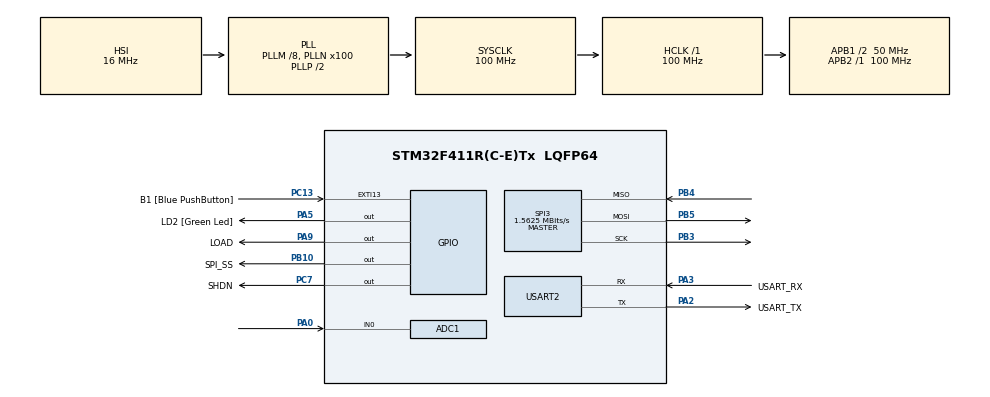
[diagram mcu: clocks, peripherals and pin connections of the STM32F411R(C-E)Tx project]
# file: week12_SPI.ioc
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ADC1.Channel-0\#ChannelRegularConversion=ADC_CHANNEL_0
ADC1.ContinuousConvMode=DISABLE
ADC1.DMAContinuousRequests=ENABLE
ADC1.EOCSelection=ADC_EOC_SEQ_CONV
ADC1.ExternalTrigConv=ADC_EXTERNALTRIGCONV_T3_TRGO
ADC1.NbrOfConversionFlag=1
ADC1.Rank-0\#ChannelRegularConversion=1
ADC1.SamplingTime-0\#ChannelRegularConversion=ADC_SAMPLETIME_3CYCLES
ADC1.ScanConvMode=ENABLE
ADC1.master=1
Dma.ADC1.0.Direction=DMA_PERIPH_TO_MEMORY
Dma.ADC1.0.FIFOMode=DMA_FIFOMODE_DISABLE
Dma.ADC1.0.Instance=DMA2_Stream0
Dma.ADC1.0.MemDataAlignment=DMA_MDATAALIGN_HALFWORD
Dma.ADC1.0.MemInc=DMA_MINC_ENABLE
Dma.ADC1.0.Mode=DMA_CIRCULAR
Dma.ADC1.0.PeriphDataAlignment=DMA_PDATAALIGN_HALFWORD
Dma.ADC1.0.PeriphInc=DMA_PINC_DISABLE
Dma.ADC1.0.Priority=DMA_PRIORITY_HIGH
Dma.Request0=ADC1
Mcu.Family=STM32F4
Mcu.Name=STM32F411R(C-E)Tx
Mcu.Package=LQFP64
NVIC.ADC_IRQn=true\:0\:0\:false\:false\:true\:true\:true\:true
NVIC.DMA2_Stream0_IRQn=true\:0\:0\:false\:false\:true\:false\:true\:true
NVIC.EXTI15_10_IRQn=true\:0\:0\:false\:false\:true\:true\:true\:true
NVIC.PriorityGroup=NVIC_PRIORITYGROUP_0
NVIC.SPI3_IRQn=true\:0\:0\:false\:false\:true\:true\:true\:true
NVIC.TIM1_TRG_COM_TIM11_IRQn=true\:0\:0\:false\:false\:true\:true\:true\:true
NVIC.TIM3_IRQn=true\:0\:0\:false\:false\:true\:true\:true\:true
PA0-WKUP.Signal=ADCx_IN0
PA13.GPIO_Label=TMS
PA13.Mode=Serial_Wire
PA13.Signal=SYS_JTMS-SWDIO
PA14.GPIO_Label=TCK
PA14.Mode=Serial_Wire
PA14.Signal=SYS_JTCK-SWCLK
PA2.GPIO_Label=USART_TX
PA2.Mode=Asynchronous
PA2.Signal=USART2_TX
PA3.GPIO_Label=USART_RX
PA3.Mode=Asynchronous
PA3.Signal=USART2_RX
PA5.GPIO_Label=LD2 [Green Led]
PA5.Signal=GPIO_Output
PA9.GPIO_Label=LOAD
PA9.PinState=GPIO_PIN_SET
PA9.Signal=GPIO_Output
PB10.GPIO_Label=SPI_SS
PB10.PinState=GPIO_PIN_SET
PB10.Signal=GPIO_Output
PB3.Mode=Full_Duplex_Master
PB3.Signal=SPI3_SCK
PB4.Mode=Full_Duplex_Master
PB4.Signal=SPI3_MISO
PB5.Mode=Full_Duplex_Master
PB5.Signal=SPI3_MOSI
PC13-ANTI_TAMP.GPIO_Label=B1 [Blue PushButton]
PC13-ANTI_TAMP.GPIO_ModeDefaultEXTI=GPIO_MODE_IT_FALLING
PC13-ANTI_TAMP.Signal=GPXTI13
PC14-OSC32_IN.Mode=LSE-External-Oscillator
PC14-OSC32_IN.Signal=RCC_OSC32_IN
PC15-OSC32_OUT.Mode=LSE-External-Oscillator
PC15-OSC32_OUT.Signal=RCC_OSC32_OUT
PC7.GPIO_Label=SHDN
PC7.PinState=GPIO_PIN_SET
PC7.Signal=GPIO_Output
PH0\ -\ OSC_IN.Mode=HSE-External-Clock-Source
PH0\ -\ OSC_IN.Signal=RCC_OSC_IN
PH1\ -\ OSC_OUT.Mode=HSE-External-Clock-Source
PH1\ -\ OSC_OUT.Signal=RCC_OSC_OUT
ProjectManager.HeapSize=0x200
ProjectManager.StackSize=0x400
ProjectManager.TargetToolchain=STM32CubeIDE
RCC.48MHZClocksFreq_Value=50000000
RCC.AHBFreq_Value=100000000
RCC.APB1CLKDivider=RCC_HCLK_DIV2
RCC.APB1Freq_Value=50000000
RCC.APB1TimFreq_Value=100000000
RCC.APB2Freq_Value=100000000
RCC.APB2TimFreq_Value=100000000
RCC.CortexFreq_Value=100000000
RCC.FLatency-AdvancedSettings=FLASH_LATENCY_3
RCC.HCLKFreq_Value=100000000
RCC.HSE_VALUE=8000000
RCC.HSI_VALUE=16000000
RCC.PLLM=8
RCC.PLLN=100
RCC.SYSCLKFreq_VALUE=100000000
RCC.SYSCLKSource=RCC_SYSCLKSOURCE_PLLCLK
RCC.VCOOutputFreq_Value=200000000
SH.ADCx_IN0.0=ADC1_IN0,IN0
SPI3.BaudRatePrescaler=SPI_BAUDRATEPRESCALER_32
SPI3.CalculateBaudRate=1.5625 MBits/s
SPI3.DataSize=SPI_DATASIZE_16BIT
SPI3.Direction=SPI_DIRECTION_2LINES
SPI3.Mode=SPI_MODE_MASTER
SPI3.VirtualType=VM_MASTER
TIM11.Prescaler=99
TIM3.Period=999
TIM3.Prescaler=999
TIM3.TIM_MasterOutputTrigger=TIM_TRGO_UPDATE
USART2.VirtualMode=VM_ASYNC
VP_TIM11_VS_ClockSourceINT.Mode=Enable_Timer
VP_TIM3_VS_ClockSourceINT.Mode=Internal
board=NUCLEO-F411RE

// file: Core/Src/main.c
/* USER CODE BEGIN Header */
/**
  ******************************************************************************
  * @file           : main.c
  * @brief          : Main program body
  ******************************************************************************
  * @attention
  *
  * Copyright (c) 2022 STMicroelectronics.
  * All rights reserved.
  *
  * This software is licensed under terms that can be found in the LICENSE file
  * in the root directory of this software component.
  * If no LICENSE file comes with this software, it is provided AS-IS.
  *
  ******************************************************************************
  */
/* USER CODE END Header */
#include "main.h"

/* USER CODE BEGIN Includes */
#include "math.h"
/* USER CODE END Includes */

/* USER CODE BEGIN PD */
#define PI 3.14159265
/* USER CODE END PD */

ADC_HandleTypeDef hadc1;
DMA_HandleTypeDef hdma_adc1;

SPI_HandleTypeDef hspi3;

TIM_HandleTypeDef htim3;
TIM_HandleTypeDef htim11;

UART_HandleTypeDef huart2;

/* USER CODE BEGIN PV */
uint16_t ADCin = 0; //ADC Read out from DAC
uint16_t dataOut = 0;		// bit 11-0 data DAC
uint8_t DACConfig = 0b0011; // bit 15-12 config A!/B | BUF | Gain | SHDN
uint64_t _micro = 0;
uint8_t shdntg = 0;

static uint8_t sigstate = 0;
static uint16_t sqcounter = 0;
static uint8_t updown = 1;
static uint16_t sincounter = 0;
/* USER CODE END PV */

void SystemClock_Config(void);
static void MX_GPIO_Init(void);
static void MX_DMA_Init(void);
static void MX_ADC1_Init(void);
static void MX_USART2_UART_Init(void);
static void MX_SPI3_Init(void);
static void MX_TIM3_Init(void);
static void MX_TIM11_Init(void);
/* USER CODE BEGIN PFP */
void MCP4922SetOutput(uint8_t Config, uint16_t DACOutput);
void SignalGen();
uint64_t micros();
/* USER CODE END PFP */

int main(void)
{

  /* MCU Configuration--------------------------------------------------------*/

  /* Reset of all peripherals, Initializes the Flash interface and the Systick. */
  HAL_Init();

  /* Configure the system clock */
  SystemClock_Config();

  /* Initialize all configured peripherals */
  MX_GPIO_Init();
  MX_DMA_Init();
  MX_ADC1_Init();
  MX_USART2_UART_Init();
  MX_SPI3_Init();
  MX_TIM3_Init();
  MX_TIM11_Init();
  /* USER CODE BEGIN 2 */
  	HAL_ADC_Start_DMA(&hadc1, (uint32_t*) &ADCin, 1); //
  	HAL_TIM_Base_Start_IT(&htim3);
  	HAL_TIM_Base_Start_IT(&htim11);

  	// config 0 to enable internal register (similar to latch clk)
  	HAL_GPIO_WritePin(LOAD_GPIO_Port, LOAD_Pin, GPIO_PIN_RESET);
  /* USER CODE END 2 */

  /* Infinite loop */
  /* USER CODE BEGIN WHILE */
  while (1)
  {
	  static uint64_t timestamp = 0;
	  		if (micros() - timestamp > 10) // 10msec
	  		{
	  			timestamp = micros();

	  			SignalGen();

	  			//shutdown test
	  			if(shdntg == 1){DACConfig = 0b0010;}
	  			else{DACConfig = 0b0011;}

	  			// sawtooth
	  			//dataOut++;
	  			//dataOut %= 4096; // overflow 12 bit
	  			// sawtootth

	  			if (hspi3.State == HAL_SPI_STATE_READY
	  					&& HAL_GPIO_ReadPin(SPI_SS_GPIO_Port, SPI_SS_Pin)
	  							== GPIO_PIN_SET)
	  				// chip select set, prevent unfinished previous task
	  			{
	  				MCP4922SetOutput(DACConfig, dataOut);
	  			}
	  		}
    /* USER CODE END WHILE */

  }
}

void SystemClock_Config(void)
{
  RCC_OscInitTypeDef RCC_OscInitStruct = {0};
  RCC_ClkInitTypeDef RCC_ClkInitStruct = {0};

  /** Configure the main internal regulator output voltage
  */
  __HAL_RCC_PWR_CLK_ENABLE();
  __HAL_PWR_VOLTAGESCALING_CONFIG(PWR_REGULATOR_VOLTAGE_SCALE1);
  /** Initializes the RCC Oscillators according to the specified parameters
  * in the RCC_OscInitTypeDef structure.
  */
  RCC_OscInitStruct.OscillatorType = RCC_OSCILLATORTYPE_HSI;
  RCC_OscInitStruct.HSIState = RCC_HSI_ON;
  RCC_OscInitStruct.HSICalibrationValue = RCC_HSICALIBRATION_DEFAULT;
  RCC_OscInitStruct.PLL.PLLState = RCC_PLL_ON;
  RCC_OscInitStruct.PLL.PLLSource = RCC_PLLSOURCE_HSI;
  RCC_OscInitStruct.PLL.PLLM = 8;
  RCC_OscInitStruct.PLL.PLLN = 100;
  RCC_OscInitStruct.PLL.PLLP = RCC_PLLP_DIV2;
  RCC_OscInitStruct.PLL.PLLQ = 4;
  if (HAL_RCC_OscConfig(&RCC_OscInitStruct) != HAL_OK)
  {
    Error_Handler();
  }
  /** Initializes the CPU, AHB and APB buses clocks
  */
  RCC_ClkInitStruct.ClockType = RCC_CLOCKTYPE_HCLK|RCC_CLOCKTYPE_SYSCLK
                              |RCC_CLOCKTYPE_PCLK1|RCC_CLOCKTYPE_PCLK2;
  RCC_ClkInitStruct.SYSCLKSource = RCC_SYSCLKSOURCE_PLLCLK;
  RCC_ClkInitStruct.AHBCLKDivider = RCC_SYSCLK_DIV1;
  RCC_ClkInitStruct.APB1CLKDivider = RCC_HCLK_DIV2;
  RCC_ClkInitStruct.APB2CLKDivider = RCC_HCLK_DIV1;

  if (HAL_RCC_ClockConfig(&RCC_ClkInitStruct, FLASH_LATENCY_3) != HAL_OK)
  {
    Error_Handler();
  }
}

static void MX_ADC1_Init(void)
{

  ADC_ChannelConfTypeDef sConfig = {0};

  /** Configure the global features of the ADC (Clock, Resolution, Data Alignment and number of conversion)
  */
  hadc1.Instance = ADC1;
  hadc1.Init.ClockPrescaler = ADC_CLOCK_SYNC_PCLK_DIV4;
  hadc1.Init.Resolution = ADC_RESOLUTION_12B;
  hadc1.Init.ScanConvMode = ENABLE;
  hadc1.Init.ContinuousConvMode = DISABLE;
  hadc1.Init.DiscontinuousConvMode = DISABLE;
  hadc1.Init.ExternalTrigConvEdge = ADC_EXTERNALTRIGCONVEDGE_RISING;
  hadc1.Init.ExternalTrigConv = ADC_EXTERNALTRIGCONV_T3_TRGO;
  hadc1.Init.DataAlign = ADC_DATAALIGN_RIGHT;
  hadc1.Init.NbrOfConversion = 1;
  hadc1.Init.DMAContinuousRequests = ENABLE;
  hadc1.Init.EOCSelection = ADC_EOC_SEQ_CONV;
  if (HAL_ADC_Init(&hadc1) != HAL_OK)
  {
    Error_Handler();
  }
  /** Configure for the selected ADC regular channel its corresponding rank in the sequencer and its sample time.
  */
  sConfig.Channel = ADC_CHANNEL_0;
  sConfig.Rank = 1;
  sConfig.SamplingTime = ADC_SAMPLETIME_3CYCLES;
  if (HAL_ADC_ConfigChannel(&hadc1, &sConfig) != HAL_OK)
  {
    Error_Handler();
  }

}

static void MX_SPI3_Init(void)
{

  /* SPI3 parameter configuration*/
  hspi3.Instance = SPI3;
  hspi3.Init.Mode = SPI_MODE_MASTER;
  hspi3.Init.Direction = SPI_DIRECTION_2LINES;
  hspi3.Init.DataSize = SPI_DATASIZE_16BIT;
  hspi3.Init.CLKPolarity = SPI_POLARITY_LOW;
  hspi3.Init.CLKPhase = SPI_PHASE_1EDGE;
  hspi3.Init.NSS = SPI_NSS_SOFT;
  hspi3.Init.BaudRatePrescaler = SPI_BAUDRATEPRESCALER_32;
  hspi3.Init.FirstBit = SPI_FIRSTBIT_MSB;
  hspi3.Init.TIMode = SPI_TIMODE_DISABLE;
  hspi3.Init.CRCCalculation = SPI_CRCCALCULATION_DISABLE;
  hspi3.Init.CRCPolynomial = 10;
  if (HAL_SPI_Init(&hspi3) != HAL_OK)
  {
    Error_Handler();
  }

}

static void MX_TIM3_Init(void)
{

  TIM_ClockConfigTypeDef sClockSourceConfig = {0};
  TIM_MasterConfigTypeDef sMasterConfig = {0};

  htim3.Instance = TIM3;
  htim3.Init.Prescaler = 999;
  htim3.Init.CounterMode = TIM_COUNTERMODE_UP;
  htim3.Init.Period = 999;
  htim3.Init.ClockDivision = TIM_CLOCKDIVISION_DIV1;
  htim3.Init.AutoReloadPreload = TIM_AUTORELOAD_PRELOAD_DISABLE;
  if (HAL_TIM_Base_Init(&htim3) != HAL_OK)
  {
    Error_Handler();
  }
  sClockSourceConfig.ClockSource = TIM_CLOCKSOURCE_INTERNAL;
  if (HAL_TIM_ConfigClockSource(&htim3, &sClockSourceConfig) != HAL_OK)
  {
    Error_Handler();
  }
  sMasterConfig.MasterOutputTrigger = TIM_TRGO_UPDATE;
  sMasterConfig.MasterSlaveMode = TIM_MASTERSLAVEMODE_DISABLE;
  if (HAL_TIMEx_MasterConfigSynchronization(&htim3, &sMasterConfig) != HAL_OK)
  {
    Error_Handler();
  }

}

static void MX_TIM11_Init(void)
{

  htim11.Instance = TIM11;
  htim11.Init.Prescaler = 99;
  htim11.Init.CounterMode = TIM_COUNTERMODE_UP;
  htim11.Init.Period = 65535;
  htim11.Init.ClockDivision = TIM_CLOCKDIVISION_DIV1;
  htim11.Init.AutoReloadPreload = TIM_AUTORELOAD_PRELOAD_DISABLE;
  if (HAL_TIM_Base_Init(&htim11) != HAL_OK)
  {
    Error_Handler();
  }

}

static void MX_USART2_UART_Init(void)
{

  huart2.Instance = USART2;
  huart2.Init.BaudRate = 115200;
  huart2.Init.WordLength = UART_WORDLENGTH_8B;
  huart2.Init.StopBits = UART_STOPBITS_1;
  huart2.Init.Parity = UART_PARITY_NONE;
  huart2.Init.Mode = UART_MODE_TX_RX;
  huart2.Init.HwFlowCtl = UART_HWCONTROL_NONE;
  huart2.Init.OverSampling = UART_OVERSAMPLING_16;
  if (HAL_UART_Init(&huart2) != HAL_OK)
  {
    Error_Handler();
  }

}

static void MX_DMA_Init(void)
{

  /* DMA controller clock enable */
  __HAL_RCC_DMA2_CLK_ENABLE();

  /* DMA interrupt init */
  /* DMA2_Stream0_IRQn interrupt configuration */
  HAL_NVIC_SetPriority(DMA2_Stream0_IRQn, 0, 0);
  HAL_NVIC_EnableIRQ(DMA2_Stream0_IRQn);

}

static void MX_GPIO_Init(void)
{
  GPIO_InitTypeDef GPIO_InitStruct = {0};

  /* GPIO Ports Clock Enable */
  __HAL_RCC_GPIOC_CLK_ENABLE();
  __HAL_RCC_GPIOH_CLK_ENABLE();
  __HAL_RCC_GPIOA_CLK_ENABLE();
  __HAL_RCC_GPIOB_CLK_ENABLE();

  /*Configure GPIO pin Output Level */
  HAL_GPIO_WritePin(LD2_GPIO_Port, LD2_Pin, GPIO_PIN_RESET);

  /*Configure GPIO pin Output Level */
  HAL_GPIO_WritePin(SPI_SS_GPIO_Port, SPI_SS_Pin, GPIO_PIN_SET);

  /*Configure GPIO pin Output Level */
  HAL_GPIO_WritePin(SHDN_GPIO_Port, SHDN_Pin, GPIO_PIN_SET);

  /*Configure GPIO pin Output Level */
  HAL_GPIO_WritePin(LOAD_GPIO_Port, LOAD_Pin, GPIO_PIN_SET);

  /*Configure GPIO pin : B1_Pin */
  GPIO_InitStruct.Pin = B1_Pin;
  GPIO_InitStruct.Mode = GPIO_MODE_IT_FALLING;
  GPIO_InitStruct.Pull = GPIO_NOPULL;
  HAL_GPIO_Init(B1_GPIO_Port, &GPIO_InitStruct);

  /*Configure GPIO pins : LD2_Pin LOAD_Pin */
  GPIO_InitStruct.Pin = LD2_Pin|LOAD_Pin;
  GPIO_InitStruct.Mode = GPIO_MODE_OUTPUT_PP;
  GPIO_InitStruct.Pull = GPIO_NOPULL;
  GPIO_InitStruct.Speed = GPIO_SPEED_FREQ_LOW;
  HAL_GPIO_Init(GPIOA, &GPIO_InitStruct);

  /*Configure GPIO pin : SPI_SS_Pin */
  GPIO_InitStruct.Pin = SPI_SS_Pin;
  GPIO_InitStruct.Mode = GPIO_MODE_OUTPUT_PP;
  GPIO_InitStruct.Pull = GPIO_NOPULL;
  GPIO_InitStruct.Speed = GPIO_SPEED_FREQ_LOW;
  HAL_GPIO_Init(SPI_SS_GPIO_Port, &GPIO_InitStruct);

  /*Configure GPIO pin : SHDN_Pin */
  GPIO_InitStruct.Pin = SHDN_Pin;
  GPIO_InitStruct.Mode = GPIO_MODE_OUTPUT_PP;
  GPIO_InitStruct.Pull = GPIO_NOPULL;
  GPIO_InitStruct.Speed = GPIO_SPEED_FREQ_LOW;
  HAL_GPIO_Init(SHDN_GPIO_Port, &GPIO_InitStruct);

  /* EXTI interrupt init*/
  HAL_NVIC_SetPriority(EXTI15_10_IRQn, 0, 0);
  HAL_NVIC_EnableIRQ(EXTI15_10_IRQn);

}

/* USER CODE BEGIN 4 */
void MCP4922SetOutput(uint8_t Config, uint16_t DACOutput)
{
	// & 0x0fff -> get only 12 bit
	uint32_t OutputPacket = (DACOutput & 0x0fff) | ((Config & 0xf) << 12); // merge config & data
	// write cs => 0 to say chip is worked
	HAL_GPIO_WritePin(SPI_SS_GPIO_Port, SPI_SS_Pin, GPIO_PIN_RESET);
	HAL_SPI_Transmit_IT(&hspi3, &OutputPacket, 1);
}

void SignalGen(){
	switch(sigstate){
	default:
	case 0:
		// sawtooth
		dataOut++;
		dataOut %= 4096; // overflow 12 bit
	break;

	case 1:
		// square wave
		sqcounter++;
		sqcounter %= 4096;
		if (sqcounter >= 2048) //(int)((50/100)*4096)
		{dataOut = 4095;}
		else{dataOut = 0;}
	break;

	case 2:
		if(updown == 1){dataOut++;}
		else{dataOut = dataOut - 1;}

		if(dataOut <= 0){updown = 1;}
		else if (dataOut >= 4095) {updown = 0;}
		else{updown = updown;}
	break;

	case 3:
	// sin
	sincounter++;
	sincounter %= 360;

	double sindata = sin(sincounter*(PI/180));
	dataOut = (int)(sindata*2047) + 2048;//
	break;
	}
}

void HAL_GPIO_EXTI_Callback(uint16_t GPIO_Pin){
	if(GPIO_Pin == GPIO_PIN_13){
		HAL_GPIO_TogglePin(GPIOA, GPIO_PIN_5);
		if(sigstate >= 4){sigstate = 0;}
		else{sigstate++;}

	}
}
// call when transmit finished
void HAL_SPI_TxCpltCallback(SPI_HandleTypeDef *hspi)
{
	if (hspi == &hspi3)
	{
		// set cs back to 1, finished
		HAL_GPIO_WritePin(SPI_SS_GPIO_Port, SPI_SS_Pin, GPIO_PIN_SET);
	}
}

void HAL_TIM_PeriodElapsedCallback(TIM_HandleTypeDef *htim)
{
	if (htim == &htim11)
	{_micro += 65535;}
}
inline uint64_t micros()
{
	return htim11.Instance->CNT + _micro;
}
/* USER CODE END 4 */

void Error_Handler(void)
{
  __disable_irq();
  while (1)
  {
  }
}
